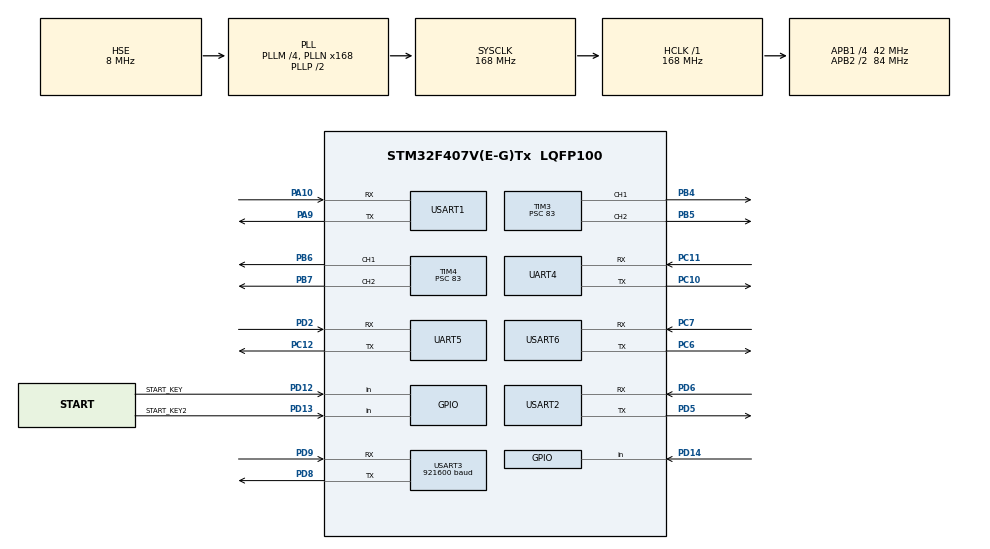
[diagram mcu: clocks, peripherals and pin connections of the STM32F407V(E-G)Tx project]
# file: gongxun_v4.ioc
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Dma.Request0=UART5_RX
Dma.Request1=UART5_TX
Dma.Request2=USART3_RX
Dma.Request3=USART6_RX
Dma.UART5_RX.0.Direction=DMA_PERIPH_TO_MEMORY
Dma.UART5_RX.0.FIFOMode=DMA_FIFOMODE_DISABLE
Dma.UART5_RX.0.Instance=DMA1_Stream0
Dma.UART5_RX.0.MemDataAlignment=DMA_MDATAALIGN_BYTE
Dma.UART5_RX.0.MemInc=DMA_MINC_ENABLE
Dma.UART5_RX.0.Mode=DMA_CIRCULAR
Dma.UART5_RX.0.PeriphDataAlignment=DMA_PDATAALIGN_BYTE
Dma.UART5_RX.0.PeriphInc=DMA_PINC_DISABLE
Dma.UART5_RX.0.Priority=DMA_PRIORITY_LOW
Dma.UART5_TX.1.Direction=DMA_MEMORY_TO_PERIPH
Dma.UART5_TX.1.FIFOMode=DMA_FIFOMODE_DISABLE
Dma.UART5_TX.1.Instance=DMA1_Stream7
Dma.UART5_TX.1.MemDataAlignment=DMA_MDATAALIGN_BYTE
Dma.UART5_TX.1.MemInc=DMA_MINC_ENABLE
Dma.UART5_TX.1.Mode=DMA_NORMAL
Dma.UART5_TX.1.PeriphDataAlignment=DMA_PDATAALIGN_BYTE
Dma.UART5_TX.1.PeriphInc=DMA_PINC_DISABLE
Dma.UART5_TX.1.Priority=DMA_PRIORITY_LOW
Dma.USART3_RX.2.Direction=DMA_PERIPH_TO_MEMORY
Dma.USART3_RX.2.FIFOMode=DMA_FIFOMODE_DISABLE
Dma.USART3_RX.2.Instance=DMA1_Stream1
Dma.USART3_RX.2.MemDataAlignment=DMA_MDATAALIGN_BYTE
Dma.USART3_RX.2.MemInc=DMA_MINC_ENABLE
Dma.USART3_RX.2.Mode=DMA_NORMAL
Dma.USART3_RX.2.PeriphDataAlignment=DMA_PDATAALIGN_BYTE
Dma.USART3_RX.2.PeriphInc=DMA_PINC_DISABLE
Dma.USART3_RX.2.Priority=DMA_PRIORITY_LOW
Dma.USART6_RX.3.Direction=DMA_PERIPH_TO_MEMORY
Dma.USART6_RX.3.FIFOMode=DMA_FIFOMODE_DISABLE
Dma.USART6_RX.3.Instance=DMA2_Stream1
Dma.USART6_RX.3.MemDataAlignment=DMA_MDATAALIGN_BYTE
Dma.USART6_RX.3.MemInc=DMA_MINC_ENABLE
Dma.USART6_RX.3.Mode=DMA_NORMAL
Dma.USART6_RX.3.PeriphDataAlignment=DMA_PDATAALIGN_BYTE
Dma.USART6_RX.3.PeriphInc=DMA_PINC_DISABLE
Dma.USART6_RX.3.Priority=DMA_PRIORITY_LOW
FREERTOS.INCLUDE_vTaskDelayUntil=1
FREERTOS.Tasks01=defaultTask,0,1024,StartDefaultTask,As weak,NULL,Dynamic,NULL,NULL;myTask02,2,512,StartTask02,As weak,NULL,Dynamic,NULL,NULL
FREERTOS.configTOTAL_HEAP_SIZE=24576
Mcu.Family=STM32F4
Mcu.Name=STM32F407V(E-G)Tx
Mcu.Package=LQFP100
NVIC.DMA1_Stream0_IRQn=true\:5\:0\:false\:false\:true\:true\:false\:true\:true
NVIC.DMA1_Stream1_IRQn=true\:5\:0\:false\:false\:true\:true\:false\:true\:true
NVIC.DMA1_Stream7_IRQn=true\:5\:0\:false\:false\:true\:true\:false\:true\:true
NVIC.DMA2_Stream1_IRQn=true\:6\:0\:true\:false\:true\:true\:false\:true\:true
NVIC.PriorityGroup=NVIC_PRIORITYGROUP_4
NVIC.TIM6_DAC_IRQn=true\:15\:0\:false\:false\:true\:false\:false\:true\:true
NVIC.TimeBase=TIM6_DAC_IRQn
NVIC.TimeBaseIP=TIM6
NVIC.UART4_IRQn=true\:7\:0\:true\:false\:true\:true\:true\:true\:true
NVIC.UART5_IRQn=true\:7\:0\:true\:false\:true\:true\:true\:true\:true
NVIC.USART1_IRQn=true\:7\:0\:true\:false\:true\:true\:true\:true\:true
NVIC.USART2_IRQn=true\:7\:0\:true\:false\:true\:true\:true\:true\:true
NVIC.USART3_IRQn=true\:5\:0\:true\:false\:true\:true\:true\:true\:true
NVIC.USART6_IRQn=true\:6\:0\:true\:false\:true\:true\:true\:true\:true
PA10.Mode=Asynchronous
PA10.Signal=USART1_RX
PA13.Mode=Serial_Wire
PA13.Signal=SYS_JTMS-SWDIO
PA14.Mode=Serial_Wire
PA14.Signal=SYS_JTCK-SWCLK
PA9.Mode=Asynchronous
PA9.Signal=USART1_TX
PB4.GPIO_Speed=GPIO_SPEED_FREQ_VERY_HIGH
PB4.Signal=S_TIM3_CH1
PB5.GPIO_Speed=GPIO_SPEED_FREQ_VERY_HIGH
PB5.Signal=S_TIM3_CH2
PB6.Signal=S_TIM4_CH1
PB7.Signal=S_TIM4_CH2
PC10.Mode=Asynchronous
PC10.Signal=UART4_TX
PC11.Mode=Asynchronous
PC11.Signal=UART4_RX
PC12.Mode=Asynchronous
PC12.Signal=UART5_TX
PC6.Mode=Asynchronous
PC6.Signal=USART6_TX
PC7.Mode=Asynchronous
PC7.Signal=USART6_RX
PD12.GPIO_Label=START_KEY
PD12.GPIO_PuPd=GPIO_PULLUP
PD12.Signal=GPIO_Input
PD13.GPIO_Label=START_KEY2
PD13.GPIO_PuPd=GPIO_PULLUP
PD13.Signal=GPIO_Input
PD14.GPIO_PuPd=GPIO_PULLUP
PD14.Signal=GPIO_Input
PD2.Mode=Asynchronous
PD2.Signal=UART5_RX
PD5.Mode=Asynchronous
PD5.Signal=USART2_TX
PD6.Mode=Asynchronous
PD6.Signal=USART2_RX
PD8.Mode=Asynchronous
PD8.Signal=USART3_TX
PD9.Mode=Asynchronous
PD9.Signal=USART3_RX
PH0-OSC_IN.Mode=HSE-External-Oscillator
PH0-OSC_IN.Signal=RCC_OSC_IN
PH1-OSC_OUT.Mode=HSE-External-Oscillator
PH1-OSC_OUT.Signal=RCC_OSC_OUT
ProjectManager.HeapSize=0x200
ProjectManager.StackSize=0x400
ProjectManager.TargetToolchain=MDK-ARM V5.32
RCC.48MHZClocksFreq_Value=84000000
RCC.AHBFreq_Value=168000000
RCC.APB1CLKDivider=RCC_HCLK_DIV4
RCC.APB1Freq_Value=42000000
RCC.APB1TimFreq_Value=84000000
RCC.APB2CLKDivider=RCC_HCLK_DIV2
RCC.APB2Freq_Value=84000000
RCC.APB2TimFreq_Value=168000000
RCC.CortexFreq_Value=168000000
RCC.HCLKFreq_Value=168000000
RCC.HSE_VALUE=8000000
RCC.HSI_VALUE=16000000
RCC.LSE_VALUE=32768
RCC.PLLM=4
RCC.PLLN=168
RCC.PLLSourceVirtual=RCC_PLLSOURCE_HSE
RCC.SYSCLKFreq_VALUE=168000000
RCC.SYSCLKSource=RCC_SYSCLKSOURCE_PLLCLK
RCC.VCOOutputFreq_Value=336000000
SH.S_TIM3_CH1.0=TIM3_CH1,PWM Generation1 CH1
SH.S_TIM3_CH2.0=TIM3_CH2,PWM Generation2 CH2
SH.S_TIM4_CH1.0=TIM4_CH1,PWM Generation1 CH1
SH.S_TIM4_CH2.0=TIM4_CH2,PWM Generation2 CH2
TIM3.Channel-PWM\ Generation1\ CH1=TIM_CHANNEL_1
TIM3.Channel-PWM\ Generation2\ CH2=TIM_CHANNEL_2
TIM3.Period=19999
TIM3.Prescaler=83
TIM4.Channel-PWM\ Generation1\ CH1=TIM_CHANNEL_1
TIM4.Channel-PWM\ Generation2\ CH2=TIM_CHANNEL_2
TIM4.Period=19999
TIM4.Prescaler=83
UART4.VirtualMode=Asynchronous
UART5.VirtualMode=Asynchronous
USART1.VirtualMode=VM_ASYNC
USART2.VirtualMode=VM_ASYNC
USART3.BaudRate=921600
USART3.VirtualMode=VM_ASYNC
USART6.VirtualMode=VM_ASYNC
VP_FREERTOS_VS_CMSIS_V1.Mode=CMSIS_V1
VP_SYS_VS_tim6.Mode=TIM6
board=custom

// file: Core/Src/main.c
/* USER CODE BEGIN Header */
/*
 * 整车程序入口。上电先准备时钟、GPIO、定时器和串口，再初始化外设接收与机构，最后启动 FreeRTOS。
 * 读代码时先看 main()，启动调度器后继续看 freertos.c 的 StartDefaultTask() 和 StartTask02()。
 */
/**
  ******************************************************************************
  * @file           : main.c
  * @brief          : Main program body
  ******************************************************************************
  * @attention
  *
  * Copyright (c) 2026 STMicroelectronics.
  * All rights reserved.
  *
  * This software is licensed under terms that can be found in the LICENSE file
  * in the root directory of this software component.
  * If no LICENSE file comes with this software, it is provided AS-IS.
  *
  ******************************************************************************
  */
/* USER CODE END Header */
#include "main.h"
#include "cmsis_os.h"
#include "dma.h"
#include "tim.h"
#include "usart.h"
#include "gpio.h"

/* USER CODE BEGIN Includes */
#include "app_config.h"
#include "bsp_usart.h"
#include "hwt101.h"
#include "Emm_V5.h"
#include "FSUS.h"
#include "actionInit.h"
#include "maixcam.h"
#include "QR_code.h"
#include "chassic.h"
/* USER CODE END Includes */

void SystemClock_Config(void);
void MX_FREERTOS_Init(void);

int main(void)
{

  /* MCU Configuration--------------------------------------------------------*/

  /* Reset of all peripherals, Initializes the Flash interface and the Systick. */
  /* 复位后先准备 HAL 和毫秒时基，外设初始化过程里的延时、超时判断都可以使用这个时基。 */
  HAL_Init();

  /* Configure the system clock */
  SystemClock_Config();

  /* Initialize all configured peripherals */
  /* 先配置普通引脚和 DMA 时钟，再启动定时器、串口。串口初始化会给对应引脚设置复用功能。 */
  MX_GPIO_Init();
  MX_DMA_Init();
  MX_TIM4_Init();
  MX_TIM3_Init();
  MX_UART4_Init();
  /* UART5 的硬件初始化在这里执行。是否发出雷达握手和扫描指令由主任务中的 APP_RADAR_ENABLED 决定。 */
  MX_UART5_Init();
  MX_USART1_UART_Init();
  MX_USART2_UART_Init();
  MX_USART3_UART_Init();
  MX_USART6_UART_Init();
  /* USER CODE BEGIN 2 */
  /*
   * 下面的初始化会实际发出停止指令和机构归位指令。选区按钮由主任务读取，到这里时还没有开始按键等待。
   * uart_init_User() 只负责摄像头和扫码接收；UART4 舵机、USART6 航向传感器在下面分别开启接收。
   */
  /* HWT101 提供原始航向。上电发设备清零命令，之后主任务用选区配置对齐地图航向。 */

	//基本配置初始化
	/* 挂起 USART1/2 的首次接收。接收请求会立刻返回，真正收到一个字节时由中断通知解析函数。 */
	uart_init_User();
	User_Uart_Init(&huart4);           //FUSH舵机
  /* USART6 用 DMA 把一段串口字节搬到 RXbuf6。收到空闲事件后，HAL 给解析函数传入本次长度。 */
  HWT101_ResReceiveToIdle_DMA();     //IMU串口
	//基本的运动初始化
  Hwt101_Yaw_Res();
	/* 地址 0 用于发送停止指令。随后 action_Init() 将机械臂、舵机和 PWM 输出设到程序规定的初始状态。 */
	Emm_V5_Stop_Now(0,false);
	action_Init();

  /* USER CODE END 2 */

  /* 准备好硬件后创建工程的两个任务。函数实现在 freertos.c，整车业务也从那里开始读。 */
  MX_FREERTOS_Init();

  /* Start scheduler */
  /*
   * osKernelStart() 让 FreeRTOS 接管任务调度。
   * 读整车顺序时下一站是 freertos.c 的 StartDefaultTask()。
   * 看轮子如何更新则读同一个文件的 StartTask02()。下面的空循环用于调度器异常返回的情况。
   */
  osKernelStart();

  /* We should never get here as control is now taken by the scheduler */

  /* Infinite loop */
  while (1)
  {

  }
}

void SystemClock_Config(void)
{
  RCC_OscInitTypeDef RCC_OscInitStruct = {0};
  RCC_ClkInitTypeDef RCC_ClkInitStruct = {0};

  /** Configure the main internal regulator output voltage
  */
  __HAL_RCC_PWR_CLK_ENABLE();
  __HAL_PWR_VOLTAGESCALING_CONFIG(PWR_REGULATOR_VOLTAGE_SCALE1);

  /** Initializes the RCC Oscillators according to the specified parameters
  * in the RCC_OscInitTypeDef structure.
  */
  RCC_OscInitStruct.OscillatorType = RCC_OSCILLATORTYPE_HSE;
  RCC_OscInitStruct.HSEState = RCC_HSE_ON;
  RCC_OscInitStruct.PLL.PLLState = RCC_PLL_ON;
  RCC_OscInitStruct.PLL.PLLSource = RCC_PLLSOURCE_HSE;
  /* 以工程配置的 8 MHz HSE 为例，先除 4，再乘 168，最后除 2，得到 168 MHz 系统时钟。 */
  RCC_OscInitStruct.PLL.PLLM = 4;
  RCC_OscInitStruct.PLL.PLLN = 168;
  RCC_OscInitStruct.PLL.PLLP = RCC_PLLP_DIV2;
  RCC_OscInitStruct.PLL.PLLQ = 4;
  if (HAL_RCC_OscConfig(&RCC_OscInitStruct) != HAL_OK)
  {
    Error_Handler();
  }

  /** Initializes the CPU, AHB and APB buses clocks
  */
  RCC_ClkInitStruct.ClockType = RCC_CLOCKTYPE_HCLK|RCC_CLOCKTYPE_SYSCLK
                              |RCC_CLOCKTYPE_PCLK1|RCC_CLOCKTYPE_PCLK2;
  RCC_ClkInitStruct.SYSCLKSource = RCC_SYSCLKSOURCE_PLLCLK;
  RCC_ClkInitStruct.AHBCLKDivider = RCC_SYSCLK_DIV1;
  RCC_ClkInitStruct.APB1CLKDivider = RCC_HCLK_DIV4;
  RCC_ClkInitStruct.APB2CLKDivider = RCC_HCLK_DIV2;

  if (HAL_RCC_ClockConfig(&RCC_ClkInitStruct, FLASH_LATENCY_5) != HAL_OK)
  {
    Error_Handler();
  }
}

/* USER CODE BEGIN 4 */
/* 硬件定时器周期回调见下方。TIM6 用来更新 HAL 的毫秒计数，HAL_GetTick() 和 HAL_Delay() 都依赖这个计数。 */

/* USER CODE END 4 */

void HAL_TIM_PeriodElapsedCallback(TIM_HandleTypeDef *htim)
{
  if (htim->Instance == TIM6)
  {
    /* TIM6 更新中断使 HAL 毫秒计数加一。相机和 IMU 新鲜度、串口超时等都可以读取这个计数。 */
    HAL_IncTick();
  }
}

void Error_Handler(void)
{
  __disable_irq();
  while (1)
  {
  }
}

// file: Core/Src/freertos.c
/* USER CODE BEGIN Header */
/*
 * 整车主逻辑阅读入口
 *
 * 1. 先找本文件的 StartDefaultTask()。它决定整车的先后顺序。
 *    上电的硬件初始化在 main.c。main() 创建下面两个任务，随后启动调度器。
 *
 *      main() -> MX_FREERTOS_Init() -> osKernelStart()
 *                                           |
 *                 +-------------------------+------------------------+
 *                 |                                                  |
 *          StartDefaultTask()                                  StartTask02()
 *       选区、算路、到站、做工位动作                      周期性读取底盘反馈并发轮速
 *
 * 2. StartDefaultTask() 的上半段只执行一遍。
 *    MainTask_PrepareStart() 等按键、底盘反馈和起点位姿确认。
 *    RadarStartup_Process() 推进雷达建链、扫描和规划。
 *    PathFollower_Start() 接收八段路线，准备在主循环中执行。
 *
 * 3. 同一个函数的 for (;;) 持续推进路线。
 *    走路时调用 PathFollower_Process()，到站后按 completed_stage 执行工位动作。
 *    MainTask_RunStageAction() 返回 1 后，PathFollower_Continue() 放行离站或收尾。
 *
 * 4. 看懂上面再按需要沿调用往下读。
 *    启动选区    -> 本文件 MainTask_PrepareStart()
 *    雷达和算路  -> bsp/scr/radar_startup.c -> bsp/scr/path_plan.c
 *    走路到站    -> bsp/scr/path_follower.c -> bsp/scr/chassis_runtime.c
 *    扫码和抓放  -> 本文件 MainTask_RunStageAction() -> QR_code.c 或 action.c
 *    轮速怎么算  -> bsp/scr/chassis_runtime.c -> bsp/scr/chassis_nav.c
 *
 * FreeRTOS 负责调度这些任务函数。单核 STM32 在就绪任务之间切换。
 * 本工程底盘任务优先级较高。它等待下一周期时，主任务可以继续运行。
 * osThreadDef 填写任务定义，osThreadCreate 创建任务，osKernelStart 开始调度。
 *
 * 调试从 g_app_start.status 开始。它描述整车进行到哪一步。
 * g_path_follower.status 描述该路段正在转向、前进还是等工位动作。
 * g_chassis_runtime.status 描述底盘当前命令是否完成。三个状态属于不同层。
 */
/**
  ******************************************************************************
  * File Name          : freertos.c
  * Description        : Code for freertos applications
  ******************************************************************************
  * @attention
  *
  * Copyright (c) 2026 STMicroelectronics.
  * All rights reserved.
  *
  * This software is licensed under terms that can be found in the LICENSE file
  * in the root directory of this software component.
  * If no LICENSE file comes with this software, it is provided AS-IS.
  *
  ******************************************************************************
  */
/* USER CODE END Header */

#include "FreeRTOS.h"
#include "task.h"
#include "main.h"
#include "cmsis_os.h"

/* USER CODE BEGIN Includes */
#include "app_config.h"
#include "chassis_runtime.h"
#include "path_follower.h"
#include "radar_startup.h"
#include "robot_task.h"
#include "action.h"
#include "QR_code.h"
#include <math.h>
#include "tim.h"
#include "actionInit.h"
/* USER CODE END Includes */

/* USER CODE BEGIN PD */
/* 雷达只在主流程启动阶段扫描一次，区域由两个启动键同步选择。 */
#define RADAR_STARTUP_NODE_ID       1U
#define RADAR_STARTUP_TIMEOUT_MS    20000U
#define RADAR_STARTUP_POLL_MS       5U
#define START_KEY_DEBOUNCE_MS       20U
#define START_FEEDBACK_TIMEOUT_MS  5000U
#define START_POSE_TIMEOUT_MS      1000U
/* USER CODE END PD */

/* USER CODE BEGIN Variables */
AppStart_State_t g_app_start;

/* USER CODE END Variables */
osThreadId defaultTaskHandle;
osThreadId myTask02Handle;

/* USER CODE BEGIN FunctionPrototypes */
static uint8_t MainTask_RunStageAction(uint8_t completed_stage);
static uint8_t MainTask_PrepareStart(void);

/* USER CODE END FunctionPrototypes */

void StartDefaultTask(void const * argument);
void StartTask02(void const * argument);

void MX_FREERTOS_Init(void); /* (MISRA C 2004 rule 8.1) */

/* GetIdleTaskMemory prototype (linked to static allocation support) */
void vApplicationGetIdleTaskMemory( StaticTask_t **ppxIdleTaskTCBBuffer, StackType_t **ppxIdleTaskStackBuffer, uint32_t *pulIdleTaskStackSize );

/* USER CODE BEGIN GET_IDLE_TASK_MEMORY */
static StaticTask_t xIdleTaskTCBBuffer;
static StackType_t xIdleStack[configMINIMAL_STACK_SIZE];

void vApplicationGetIdleTaskMemory( StaticTask_t **ppxIdleTaskTCBBuffer, StackType_t **ppxIdleTaskStackBuffer, uint32_t *pulIdleTaskStackSize )
{
  *ppxIdleTaskTCBBuffer = &xIdleTaskTCBBuffer;
  *ppxIdleTaskStackBuffer = &xIdleStack[0];
  *pulIdleTaskStackSize = configMINIMAL_STACK_SIZE;
  /* place for user code */
}
/* USER CODE END GET_IDLE_TASK_MEMORY */

void MX_FREERTOS_Init(void) {
  /* USER CODE BEGIN Init */
  /*
   * 队列是可以保存多条消息的缓冲。主任务把位置校正、转向或位移命令放进去，
   * StartTask02() 在自己的周期中取命令执行。方向计算和串口轮询由底盘任务负责。
   */
  (void)ChassisRuntime_Create();
  /* USER CODE END Init */

  /* Create the thread(s) */
  /* definition and creation of defaultTask */
  /*
   * 参数依次是任务名、入口函数、优先级、实例字段和栈空间配置。
   * osThreadDef 只给出定义，下一行用这份定义创建任务。返回的 handle 用来标识任务。
   * 本工程传入 NULL，所以下面的 StartDefaultTask() 没有启动参数要读。
   */
  osThreadDef(defaultTask, StartDefaultTask, osPriorityNormal, 0, 1024);
  defaultTaskHandle = osThreadCreate(osThread(defaultTask), NULL);

  /* definition and creation of myTask02 */
  /*
   * myTask02 是 CubeMX 中的任务名，StartTask02 是真正执行的函数。
   * 两个任务都就绪时，底盘任务优先运行。它等待下一周期后，主任务继续执行。
   */
  osThreadDef(myTask02, StartTask02, osPriorityHigh, 0, 512);
  myTask02Handle = osThreadCreate(osThread(myTask02), NULL);

}
extern void PutMaterialFromSlot(int number, uint8_t slot);
extern void PutMaterial2FromSlot(int number, uint8_t slot);
/* USER CODE BEGIN Header_StartDefaultTask */
/* 主任务按顺序等待选区、建立地图位姿、规划路线并驱动车辆。到站动作返回成功后，才允许继续下一段。 */
/**
  * @brief  Function implementing the defaultTask thread.
  * @param  argument: Not used
  * @retval None
  */
/* USER CODE END Header_StartDefaultTask */
__weak void StartDefaultTask(void const * argument)
{
  /* USER CODE BEGIN StartDefaultTask */
  (void)argument;

  /* 上半段只执行一次。选区成功后才执行雷达扫描和路径规划。 */
//雷达的启动扫描和规划***********************************************************************
  /* 先选择实际放车区域并建立地图位姿，不能先用1区路线规划再选2区。 */
  /* 主任务启动路线的第一道条件是选区和位姿准备成功。失败原因可在 g_app_start.fault 查看。 */
  if (MainTask_PrepareStart() != 0U)
  {
    g_app_start.status = APP_START_PLANNING;
  /*
   * 启动阶段只扫描一次全场障碍并完成A*规划。
   * 结果保存在g_radar_startup.path，成功后再进入正式比赛主流程。
   */
#if APP_RADAR_ENABLED
  /* app_config.h 当前选择这个编译分支。启动请求之后，要反复调用 Process 才能收发后续消息。 */
  (void)RadarStartup_Start(RADAR_STARTUP_NODE_ID,
                          g_app_start.selected_zone,
                          RADAR_STARTUP_TIMEOUT_MS);
  /* 雷达选区和扫描由多次串口收发组成。每次调用 Process 推进一步，中间用 osDelay 等下一轮。 */
  while (!RadarStartup_IsFinished())
  {
    RadarStartup_Process();
    osDelay(RADAR_STARTUP_POLL_MS);
  }
#else
  /* APP_RADAR_ENABLED 为 0 时走这个编译分支。规划用固定地图，新增障碍集合为空。 */
  (void)RadarStartup_PlanWithoutRadar();
#endif

  /* 先确认规划结果有效，再把路线交给执行器。两项都通过才进入 RUNNING。 */
  if (RadarStartup_IsSuccessful() && PathFollower_Start(RadarStartup_GetPath()))
  {
    /* 两种模式都使用同一个路径执行器，工位动作和离站流程不变。 */
    g_app_start.status = APP_START_RUNNING;
  }
  else
  {
    g_app_start.fault = RadarStartup_IsSuccessful() ?
                        APP_START_FAULT_FOLLOWER : APP_START_FAULT_PLAN;
    g_app_start.status = APP_START_ERROR;
    (void)ChassisRuntime_Stop();
  }
  }
		 /* 主任务在进入路径循环前还执行这一段 TIM3 通道 1 的定时脉宽序列。它位于上方启动成功判断之外。 */
		 __HAL_TIM_SET_COMPARE(&htim3,TIM_CHANNEL_1,1000);
	 osDelay(700);
	 	 __HAL_TIM_SET_COMPARE(&htim3,TIM_CHANNEL_1,1500);
	 osDelay(50);

//雷达的启动扫描和规划************************************************************************
  /* 下面连续以双斜线开头的是历史台架示例，第一次读直接跳到下方的 for (;;) 循环。 */
//测试代码************************************************************************************

//	 QRcode_print_1();
//	/* 先启动MaixCam物料模式，并等待第一批有效坐标帧。 */
//	osDelay(100U);
//		Maixcam_setmode(5U);
//		(void)VisualPosition_Run(155U, 138, 90.0f, 1U, 8000U); //加工区，地图航向
//  	(void)VisualPosition_Run(78U, 93, 0.0f, 1U, 8000U);   //码垛
	//	(void)VisualPosition_Run(60U, 100, -90.0f, 1U, 8000U);   //原料区，地图航向
//	    ser_set(-69, 800);
//    osDelay(810U);
//	/* 视觉微调直接控制四轮，期间关闭任务2，避免USART3指令互相覆盖。 */
//	ChassisRuntime_SetEncoderQueryEnabled(false);
//	MotorSetPulse(5000, 1, 200, 200);
//	osDelay(1000);
//		put_material2(3);
//		put_material2(3);
//	put_material2(3);
////	osDelay(20U);
//	grab_material(3);
//	grab_material(2);
//	grab_material(3);
//	put_material(1);
//	put_material(2);
//	put_material(3);
//	grab_middle(1);
//	ChassisRuntime_SetEncoderQueryEnabled(true);
//VisualPosition_RunRawMaterial(RAW_GRAB_MIDDLE_X_PX, RAW_GRAB_MIDDLE_Y_PX,
//            0, RAW_GRAB_POSITION_TOLERANCE_PX,
//            RAW_GRAB_POSITION_TIMEOUT_MS);
//VisualPosition_Run(145U, 127U, 0.0f, 1U, 8000U);  //加工区定位点
//VisualPosition_Run(72U, 83U, 0.0f, 1U, 8000U);  //码垛定位点
//ChassisRuntime_SetEncoderQueryEnabled(false);
//    PutMaterial2FromSlot(1, 1U);
//    PutMaterial2FromSlot(2, 2U);
//    PutMaterial2FromSlot(3, 3U);

//    GrabMaterialToSlot(1, 1U);
//   GrabMaterialToSlot(2, 2U);
//    GrabMaterialToSlot(3, 3U);

//   RawGrab_Run(1,2,3);
//ChassisRuntime_SetEncoderQueryEnabled(true);
//  while(1)
//	{
//		osDelay(10);
//	}
//测试代码************************************************************************************
  /*
   * 下半段是整车主循环。for (;;) 表示一直重复下面的代码。
   * 每轮先推进走路状态，再判断是否到站或发生故障。
   * PathFollower_Process() 做一次检查并返回，所以后续判断能在同一轮继续执行。
   * 某些工位动作需要等待扫码或机械动作执行完，这一轮会在工位函数里等到它返回。
   */
  for(;;)
  {
    if (g_app_start.status == APP_START_RUNNING)
    {
      PathFollower_Process();
      /*
       * 一段路走完并完成需要的对接转向后，路径状态变成 WAIT_ACTION。
       * completed_stage 是刚走完的段号。例如值为 1 时，下面执行第一圈原料动作。
       */
      if (g_path_follower.status == PATH_FOLLOWER_WAIT_ACTION)
      {
        /*
         * 这里的 if 检查工位动作的返回值。返回 1 才调用 Continue()。
         * 原料、加工、暂存通常会进入离站状态，完成后再切下一段。
         * 返回 0 时保留 WAIT_ACTION。下一轮还会检查这个工位，是否重做由工位内部状态决定。
         */
        if (MainTask_RunStageAction(g_path_follower.completed_stage) != 0U)
        {
          (void)PathFollower_Continue();
        }
      }
      if (g_path_follower.status == PATH_FOLLOWER_FAULT)
      {
        g_app_start.fault = APP_START_FAULT_FOLLOWER;
        g_app_start.status = APP_START_ERROR;
      }
      else if (g_path_follower.status == PATH_FOLLOWER_DONE)
      {
        g_app_start.status = APP_START_DONE;
      }
    }
    else
    {
      /* 准备失败或全程结束时，不再推进路径。本任务继续在循环中等待。 */
    }
    /* 这一轮处理完后，主任务等待约 10 ms。工位函数的耗时会额外占用本轮时间。 */
    osDelay(10);
  }
  /* USER CODE END StartDefaultTask */
}

/* USER CODE BEGIN Header_StartTask02 */
/* 底盘任务独立于主任务运行。即使主任务在等扫码或执行机械臂动作，这里的固定周期调度仍会继续。 */
/**
* @brief Function implementing the myTask02 thread.
* @param argument: Not used
* @retval None
*/
/* USER CODE END Header_StartTask02 */
__weak void StartTask02(void const * argument)
{
  /* USER CODE BEGIN StartTask02 */
  uint32_t last_wake = osKernelSysTick();
  (void)argument;

  /*
   * 以下是另一个由调度器运行的循环。主任务在等待扫码或到站动作时，它仍按自己的节拍被调度。
   * 每轮先读四轮和 IMU，再据需要发命令。机构和底盘共用 USART3，机构占用时底盘周期仍计数，
   * ChassisRuntime_TaskStep() 会从暂停查询分支提前返回，把串口让给机构。
   */
  for(;;)
  {
    ChassisRuntime_TaskStep();
    /*
     * last_wake 保存上一计划唤醒时刻。osDelayUntil() 每次把计划往后移 20 ms。
     * 例如从 0 ms 开始，这一轮花 8 ms，就等待到约 20 ms；下一轮仍以 40 ms 为计划时刻。
     * &last_wake 把变量的地址交给函数，所以函数能更新它。步进函数耗时可看 bus_time_ms。
     */
    osDelayUntil(&last_wake,20U);
  }
  /* USER CODE END StartTask02 */
}

/* USER CODE BEGIN Application */
/* 应用层入口按调用顺序阅读。MainTask_PrepareStart() 只建立软件位姿。MainTask_RunStageAction() 根据已完成的路径段执行对应工位动作。 */

/* 两键同时按下不选择，避免放在2区却误选1区；只读取一次并锁定。 */
static uint8_t MainTask_ReadStartKey(void)
{
    GPIO_PinState key1 = HAL_GPIO_ReadPin(START_KEY_GPIO_Port, START_KEY_Pin);
    GPIO_PinState key2 = HAL_GPIO_ReadPin(START_KEY2_GPIO_Port, START_KEY2_Pin);
    /* 上拉输入平时为高，按下接地后变低。两个键都按下或都松开时返回 0，主任务继续等。 */
    if (key1 == GPIO_PIN_RESET && key2 == GPIO_PIN_SET) return PP_START_ZONE_1;
    if (key2 == GPIO_PIN_RESET && key1 == GPIO_PIN_SET) return PP_START_ZONE_2;
    return 0U;
}

/*
 * 主任务启动前的三个关口，按代码从上往下读。
 *
 * WAIT_KEY      等 PD12 或 PD13 单键稳定按下，可以一直等。
 * WAIT_FEEDBACK 等底盘任务报告四轮位置和有效 IMU，最多等 5 秒。
 * WAIT_POSE     主任务先把校正命令放进队列，再等底盘确认，最多等 1 秒。
 *
 * 校正位姿是给已摆好的车标记地图 X、Y 和车头朝向。当前初始航向由 PP_START_YAW_DEG 指定。
 * 队列接受命令后，底盘任务还需取出并执行。pose_sequence 是这次请求的序号，
 * 等 completed_sequence 变成同一个值并核对坐标，才能确认准备完成。
 *
 * 准备成功返回 1，StartDefaultTask() 接着规划。失败先登记原因并请求停车，再返回 0。
 */
static uint8_t MainTask_PrepareStart(void)
{
    const PathPlan_StartProfile_t *profile;
    ChassisRuntime_State_t chassis;
    uint32_t wait_start;
    uint8_t zone;
    float yaw_error;

    g_app_start.status = APP_START_WAIT_KEY;
    g_app_start.fault = APP_START_FAULT_NONE;
    g_app_start.selected_zone = 0U;
    g_app_start.pose_sequence = 0U;
    for (;;) {
        zone = MainTask_ReadStartKey();
        if (zone != 0U) {
            /* 等待触点抖动结束后再读一次。确认两次读数相同才锁定该区。 */
            osDelay(START_KEY_DEBOUNCE_MS);
            if (MainTask_ReadStartKey() == zone) break;
        }
        osDelay(5U);
    }
    if (path_plan_select_start_zone(zone) == 0) {
        g_app_start.fault = APP_START_FAULT_BAD_ZONE;
        goto start_failed;
    }
    g_app_start.selected_zone = zone;
    /* profile 指向选区的数据，包括起点坐标、初始航向、离站点和回库点。 */
    profile = path_plan_get_start_profile();
    /* 这里等待底盘任务先建立里程计。四轮掩码需为 0x0F，IMU 要在线，状态还需处在可接受位姿修正的阶段。 */
    g_app_start.status = APP_START_WAIT_FEEDBACK;
    wait_start = HAL_GetTick();
    for (;;) {
        ChassisRuntime_GetState(&chassis);
        if (chassis.status == CHASSIS_RUNTIME_FAULT) {
            g_app_start.fault = APP_START_FAULT_CHASSIS;
            goto start_failed;
        }
        /* IMU有效后把当前原始读数对齐PP_START_YAW_DEG配置的地图航向。
         * 不要求IMU开机读数为0；先按配置角保持航向离站，再允许路径转向。
         */
        if (chassis.nav_initialized != 0U && chassis.encoder_query_enabled != 0U &&
            chassis.encoder_valid_mask == CHASSIS_NAV_ENCODER_ALL_VALID &&
            chassis.imu_valid != 0U && isfinite(chassis.imu_yaw_deg) &&
            (chassis.status == CHASSIS_RUNTIME_IDLE ||
             chassis.status == CHASSIS_RUNTIME_DONE)) break;
        if (HAL_GetTick() - wait_start >= START_FEEDBACK_TIMEOUT_MS) {
            g_app_start.fault = APP_START_FAULT_FEEDBACK_TIMEOUT;
            goto start_failed;
        }
        osDelay(5U);
    }
    /* 把车手工摆好的起点坐标和航向登记到地图。此调用只把校正请求入队，同时返回可跟踪的序号。 */
    if (!ChassisRuntime_CorrectPoseWithSequence(profile->initial_x_mm,
                                                profile->initial_y_mm,
                                                profile->initial_yaw_deg,
                                                &g_app_start.pose_sequence)) {
        g_app_start.fault = APP_START_FAULT_POSE_QUEUE;
        goto start_failed;
    }
    g_app_start.status = APP_START_WAIT_POSE;
    wait_start = HAL_GetTick();
    for (;;) {
        ChassisRuntime_GetState(&chassis);
        if (chassis.status == CHASSIS_RUNTIME_FAULT) {
            g_app_start.fault = APP_START_FAULT_CHASSIS;
            goto start_failed;
        }
        /* 航向差统一折回一圈的正负 180 度内。例如 +179 度和 -179 度只相差 2 度。 */
        yaw_error = chassis.nav.pose.yaw_deg - profile->initial_yaw_deg;
        if (isfinite(yaw_error)) {
            while (yaw_error > 180.0f) yaw_error -= 360.0f;
            while (yaw_error < -180.0f) yaw_error += 360.0f;
        }
        /* 等到底盘确认这条校正命令完成，还要核对读回位姿与目标相近，才放行扫描与规划。 */
        if (g_app_start.pose_sequence != 0U &&
            chassis.completed_sequence == g_app_start.pose_sequence &&
            (chassis.status == CHASSIS_RUNTIME_IDLE ||
             chassis.status == CHASSIS_RUNTIME_DONE) &&
            chassis.encoder_valid_mask == CHASSIS_NAV_ENCODER_ALL_VALID &&
            isfinite(chassis.nav.pose.x_mm) && isfinite(chassis.nav.pose.y_mm) &&
            isfinite(yaw_error) && fabsf(yaw_error) <= 1.0f &&
            hypotf(chassis.nav.pose.x_mm - profile->initial_x_mm,
                   chassis.nav.pose.y_mm - profile->initial_y_mm) <= 2.0f) return 1U;
        if (HAL_GetTick() - wait_start >= START_POSE_TIMEOUT_MS) {
            g_app_start.fault = APP_START_FAULT_POSE_TIMEOUT;
            goto start_failed;
        }
        osDelay(5U);
    }

/* 准备阶段失败统一走这里。写入 ERROR，再请求底盘停止，具体的故障值由前面的分支设置。 */
start_failed:
    g_app_start.status = APP_START_ERROR;
    (void)ChassisRuntime_Stop();
    return 0U;
}

/*
 * 工位右侧对接姿态的临时观察时间。
 * 正式运行设为0；需要观察对接方向时可临时改为1000毫秒。
 * 动作本身的完成状态决定何时继续路径。
 */
/* 正式动作已接入，取消旧的工位对接后额外1秒观察等待。 */
#define STAGE_DOCK_TEST_HOLD_MS 0U

/*
 * 六次工位动作各自的执行顺序，下标与completed_stage相同。
 * 每行依次是a、b、c；修改某行只影响那一次到站，不影响另一圈。
 * 原料行是颜色编号1~6：第一圈来自A1/B1/C1，第二圈来自A3/B3/C3。
 * 第一圈加工/暂存用A2/B2/C2；第二圈加工仍用A4/B4/C4。
 * 第二圈暂存按第1/2/3组扫码计算同色目标，不使用第4组加工顺序。
 * 原料按抓取先后存入槽1/2/3；加工、暂存参数a/b/c分别指定这三个槽
 * 应去的圆环位置。例：原料6/2/4、圆环3/1/2，则槽1颜色6放圆环3，
 * 槽2颜色2放圆环1，槽3颜色4放圆环2；加工取回时仍回到原槽。
 * 表在实际扫码或手动任务加载后生成，不再混用A1/A2/A3，也不把颜色号当槽号。
 */
static uint8_t s_stage_action_order[PP_MAX_STAGES][3] = {
    {0U, 0U, 0U}, /* 0：扫码，无机构顺序。 */
    {0U, 0U, 0U}, /* 1：第一圈原料，扫码第1组，颜色1~6。 */
    {0U, 0U, 0U}, /* 2：第一圈加工，扫码第2组，圆环1~3。 */
    {0U, 0U, 0U}, /* 3：第一圈暂存，扫码第2组，圆环1~3。 */
    {0U, 0U, 0U}, /* 4：第二圈原料，扫码第3组，颜色1~6。 */
    {0U, 0U, 0U}, /* 5：第二圈加工，扫码第4组，圆环1~3。 */
    {0U, 0U, 0U}, /* 6：第二圈暂存，同色匹配的目标圆环，第二层叠放。 */
    {0U, 0U, 0U}  /* 7：最终停车，无机构顺序。 */
};

/*
 * 工位执行入口。只在主任务看到 PATH_FOLLOWER_WAIT_ACTION 时调用。
 *
 * completed_stage 记录车刚走完哪一段，编号从 0 开始。
 * 0 扫码 -> 1 第一圈取料 -> 2 第一圈加工 -> 3 放第一层
 *        -> 4 第二圈取料 -> 5 第二圈加工 -> 6 放第二层 -> 7 回库结束
 *
 * switch 根据段号直接跳到对应的 case，case 在文件中的排放位置不影响跑车顺序。
 * 定位目标、抓取和放置的细节可沿对应 case 跳到 bsp/scr/action.c。
 *
 * 返回 1 表示向路径执行器报告本工位可以放行。返回 0 表示保留当前工位，
 * 原因可能是条件还未满足、任务编号无效或动作已经失败。查看对应分支的状态变量。
 * case 中的函数可能在本次调用中等待扫码或等待动作完成，这期间底盘任务仍可被调度。
 */
static uint8_t MainTask_RunStageAction(uint8_t completed_stage)
{
  uint8_t *order;
  uint8_t max_id;
  /* 只记录两次原料到站：下标0=第一圈、1=第二圈，失败不自动重抓。
   * 1=动作函数返回成功，非传感器确认抓牢；调试排障后复位重跑。
   */
  /* static 局部变量在函数返回后仍保留。这样下一轮回到同一原料工位时，能知道是否已经试抓过。 */
  static uint8_t raw_attempted[2];
  static uint8_t raw_done[2];

  if (completed_stage >= PP_MAX_STAGES) return 0U;
  /* order 指向本工位三个编号。原料段读取颜色，其他有机构动作的段读取圆环号。 */
  order = s_stage_action_order[completed_stage];
  max_id = (completed_stage == 1U || completed_stage == 4U) ? 6U : 3U;

  /* 避免无效编号导致原料忙等待永不退出，或抓放函数不执行却放行路径。 */
  if (completed_stage >= 1U && completed_stage <= 6U &&
      (order[0] < 1U || order[0] > max_id ||
       order[1] < 1U || order[1] > max_id ||
       order[2] < 1U || order[2] > max_id ||
       order[0] == order[1] || order[0] == order[2] || order[1] == order[2]))
  {
    return 0U; /* 顺序配置错误：保持WAIT_ACTION，不执行机构或继续路径。 */
  }

#if STAGE_DOCK_TEST_HOLD_MS > 0U
  static uint8_t hold_stage = 0xFFU;
  static uint32_t hold_start_ms = 0U;

  /* 阶段1~6都是原料/加工/暂存工位，先非阻塞保持对接姿态供观察。 */
  if (completed_stage >= 1U && completed_stage <= 6U &&
      STAGE_DOCK_TEST_HOLD_MS != 0U)
  {
    if (hold_stage != completed_stage)
    {
      hold_stage = completed_stage;
      hold_start_ms = HAL_GetTick();
      return 0U;
    }

    if ((uint32_t)(HAL_GetTick() - hold_start_ms) <
        STAGE_DOCK_TEST_HOLD_MS)
    {
      return 0U;
    }

    hold_stage = 0xFFU;
  }
#endif

  switch (completed_stage)
  {
    /* 第 0 段终点是扫码位。从四组三位数生成两圈动作顺序，第二层存放目标在这里按颜色提前计算。 */
    case 0U:
      /* 扫码区域：车身左侧朝向二维码板，底盘已经停车。 */
      if (g_storage_stack.fault != STORAGE_STACK_FAULT_NONE) return 0U;
      raw_attempted[0] = raw_attempted[1] = 0U;
      raw_done[0] = raw_done[1] = 0U;
#if APP_MANUAL_TASK_ENABLED
      /* 手动测试：不调用扫码等待；同样解码成A1~C4，复用后续流程。
       * 不改扫码接收标志E和中断接收缓冲，避免与实际接收互相覆盖。
       */
      openmv_shun_xu1 = APP_MANUAL_TASK_GROUP1;
      openmv_shun_xu2 = APP_MANUAL_TASK_GROUP2;
      openmv_shun_xu3 = APP_MANUAL_TASK_GROUP3;
      openmv_shun_xu4 = APP_MANUAL_TASK_GROUP4;
      if (!ShunXu_Decode(openmv_shun_xu1, 6U, &A1, &B1, &C1) ||
          !ShunXu_Decode(openmv_shun_xu2, 3U, &A2, &B2, &C2) ||
          !ShunXu_Decode(openmv_shun_xu3, 6U, &A3, &B3, &C3) ||
          !ShunXu_Decode(openmv_shun_xu4, 3U, &A4, &B4, &C4)) {
        g_storage_stack.fault = STORAGE_STACK_FAULT_BAD_SCAN;
        return 0U; /* 手动编号非法时保持停车，不能盲目执行机构。 */
      }
#else
      /* 实际扫码由 USART2 中断接收数据，这里等待结果并将四组三位数拆成 A1/B1/C1 等业务字段。 */
      QRcode_print_1();
#endif
      /*
       * 二维数组的第一维是阶段号，第二维是顺序里的第 1、2、3 项。
       * 例如第一组为 642 时，[1][0] 是颜色 6，第一件放入车载槽 1。
       * 第二组为 312 时，[2][0] 是圆环 3，所以加工时让槽 1 的物料去圆环 3。
       */
      /* 第一圈：第1组颜色取料，第2组圆环加工/暂存。 */
      s_stage_action_order[1][0] = A1;
      s_stage_action_order[1][1] = B1;
      s_stage_action_order[1][2] = C1;
      s_stage_action_order[2][0] = A2;
      s_stage_action_order[2][1] = B2;
      s_stage_action_order[2][2] = C2;
      s_stage_action_order[3][0] = A2;
      s_stage_action_order[3][1] = B2;
      s_stage_action_order[3][2] = C2;

      /* 第二圈：第3组颜色取料，第4组只用于加工区。 */
      s_stage_action_order[4][0] = A3;
      s_stage_action_order[4][1] = B3;
      s_stage_action_order[4][2] = C3;
      s_stage_action_order[5][0] = A4;
      s_stage_action_order[5][1] = B4;
      s_stage_action_order[5][2] = C4;
      /* 根据扫码快照保存第一层圆环颜色，并生成第二圈同色码垛目标。
       * 两圈颜色不同/编号非法时保持停车，Watch查看g_storage_stack.fault。
       */
      if (!StorageStack_Configure(s_stage_action_order[1],
                                   s_stage_action_order[3],
                                   s_stage_action_order[4])) return 0U;
      s_stage_action_order[6][0] = g_storage_stack.target_ring[0];
      s_stage_action_order[6][1] = g_storage_stack.target_ring[1];
      s_stage_action_order[6][2] = g_storage_stack.target_ring[2];
      return 1U;
    /* 第 1 段是第一圈原料。raw_attempted 记录是否已经执行，失败后留在当前工位等待排查。 */
    case 1U:
      /* 第一圈原料：第1组颜色，action.c完成排列识别、定位、左中右抓取、
       * 查询开关恢复和收臂。返回0保持WAIT_ACTION，不放行路径或重复抓取。
       */
      if (raw_attempted[0] != 0U) return raw_done[0];
      raw_attempted[0] = 1U;
      raw_done[0] = RawGrab_Run(order[0], order[1], order[2]);
      return raw_done[0];

    /* 第 4 段是第二圈原料。流程和第一圈相同，使用独立的完成标志与第 3 组颜色顺序。 */
    case 4U:
      /* 第二圈原料：第3组颜色；直接调用同一流程，完成标志仍与第一圈独立。 */
      if (raw_attempted[1] != 0U) return raw_done[1];
      raw_attempted[1] = 1U;
      raw_done[1] = RawGrab_Run(order[0], order[1], order[2]);
      return raw_done[1];

    /* 加工工位从这里调用圆环视觉对位。机械臂和旧底盘共用 USART3，执行机构动作时临时停用轮询，结束后恢复。 */
    case 2U:
      /* 第一圈加工：保持原视觉模式、定位坐标及+90度工位航向。 */
		  Maixcam_setmode(2U);
			ser_set(-70,1000);
	    osDelay(700);
		  /*
		   * 五个参数依次是目标 X/Y 像素、地图航向、像素容差和总等待毫秒数。
		   * 当前加工分支直接调用该函数，返回后就去执行 Processing_First()。
		   * 暂存分支的成功判定在 StorageStack_RunFirst() 内。
		   */
		  VisualPosition_Run(145U, 127U, 90.0f, 1U, 8000U);  //加工区定位点
		ChassisRuntime_SetEncoderQueryEnabled(false);
      /* 共享串口已让出，按本阶段顺序放置并取回。 */
      Processing_First(order[0], order[1], order[2]);
		ChassisRuntime_SetEncoderQueryEnabled(true);
			ser_set(-145,1000);
	    osDelay(700);
      return 1U;

    case 5U:
      /* 第二圈加工：定位与第一圈相同，动作顺序和入口独立。 */
      Maixcam_setmode(2U);
      ser_set(-70, 1000);
      osDelay(700U);
      /* 与第一圈加工相同，当前分支在视觉函数返回后直接继续抓放。 */
     VisualPosition_Run(145U, 127U, 90.0f, 1U, 8000U);  //加工区定位点
      ChassisRuntime_SetEncoderQueryEnabled(false);
      Processing_Second(order[0], order[1], order[2]);
      ChassisRuntime_SetEncoderQueryEnabled(true);
      /* 必须收回机构后返回1，之后路径状态机才允许离站。 */
      ser_set(-145, 1000);
      osDelay(700U);
      return 1U;

    /* 第 3 段用地面圆环做视觉定位，通过后放第一层并记录完成标志。 */
    case 3U:
      /* 第一圈暂存：原圆环模式和定位坐标不变，按第2组放第一层。
       * 定位失败不抓放、不放行；成功后记录first_layer_done。
       */
      return StorageStack_RunFirst() ? 1U : 0U;
    /* 第 6 段按圆环 2 第一层物料的颜色切换定位模式，定位成功后把三块物料叠在各自同色圆环。 */
    case 6U:
      /* 第二圈暂存：识别ring_color[2]对应物料，只定位成功才同色叠放。
       * 当前坐标在 action.c 的 StorageStack_RunLayer()。定位失败时会登记故障并保留本工位。
       */
      return StorageStack_RunSecond() ? 1U : 0U;
    /* 最后一段对应回库。这里确认结束后，路径模块进入 DONE，主任务写入 APP_START_DONE。 */
    case 7U:
      /* 所选启停区的返回动作已由路径模块完成。这里返回 1，交给 Continue() 结束全程。 */
      return 1U;

    default:
      /* 非法阶段不放行，车辆保持停车，便于调试发现问题。 */
      return 0U;
  }
}

/* USER CODE END Application */
